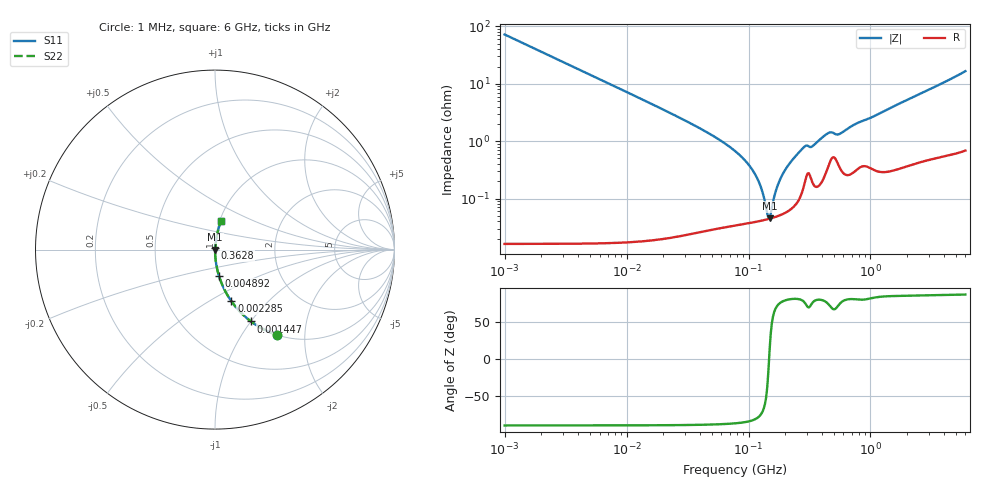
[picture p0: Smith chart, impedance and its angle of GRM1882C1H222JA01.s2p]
!Murata Part Number: GRM1882C1H222JA01
!These Parameters are Measured in Series Mode Connection
!Data Generated on Mar 30, 2021
!  o--ll--o
!Port1  Port2
!  o------o
!Operation Temp=25[degC], DC Bias Voltage=0[V]
!Freq. Start=1000[kHz] Stop=6[GHz] 401[Steps]
# Hz S RI R 50
!Freq.(Hz) S11(Real) S11(Imag) S21(Real) S21(Imag) S12(Real) S12(Imag) S22(Real) S22(Imag)
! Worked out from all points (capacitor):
!   401 points, 1 MHz to 6 GHz, reference 50 ohm
!   read as one part in series: C = 2.2 nF near 1.044 MHz
!   lowest |Z| = 45.4 mohm at 148.7 MHz (marker M1)
!   series resonance near 147.4 MHz, so ESL is about 530 pH
!   S11 on the Smith chart (normalised r, x): 1 MHz: 1.00, -1.45; 1.447 MHz: 1.00, -1.00; 2.285 MHz: 1.00, -0.63; 4.892 MHz: 1.00, -0.30; 362.8 MHz: 1.00, +0.02; 6 GHz: 1.01, +0.33
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1000000  0.3439 -0.4749  0.6561 0.4749  0.6561 0.4749  0.3439 -0.4749
1447343  0.2002 -0.4  0.7998 0.4  0.7998 0.4  0.2002 -0.4
2285201  0.0913 -0.2878  0.9087 0.2878  0.9087 0.2878  0.0913 -0.2878
4293785  0.0277 -0.1638  0.9723 0.1638  0.9723 0.1638  0.0277 -0.1638
4892295  0.0215 -0.1446  0.9785 0.1446  0.9785 0.1446  0.0215 -0.1446
1.843659e7  0.00168 -0.0385  0.9983 0.0385  0.9983 0.0385  0.00168 -0.0385
4.596069e7  0.000475 -0.0141  0.9995 0.0141  0.9995 0.0141  0.000475 -0.0141
7.745967e7  0.000383 -0.00673  0.9996 0.00673  0.9996 0.00673  0.000383 -0.00673
9.627852e7  0.000385 -0.0043  0.9996 0.0043  0.9996 0.0043  0.000385 -0.0043
1.145757e8  0.000398 -0.0025  0.9996 0.0025  0.9996 0.0025  0.000398 -0.0025
1.277378e8  0.000413 -0.00141  0.9996 0.00141  0.9996 0.00141  0.000413 -0.00141
1.424119e8  0.000434 -0.000339  0.9996 0.000339  0.9996 0.000339  0.000434 -0.000339
1.487431e8  0.000445 9.01e-05  0.9996 -9.01e-05  0.9996 -9.01e-05  0.000445 9.01e-05
1.732027e8  0.000495 0.00161  0.9995 -0.00161  0.9995 -0.00161  0.000495 0.00161
2.016844e8  0.000579 0.00321  0.9994 -0.00321  0.9994 -0.00321  0.000579 0.00321
2.794814e8  0.00149 0.00742  0.9985 -0.00742  0.9985 -0.00742  0.00149 0.00742
3.325952e8  0.00201 0.00781  0.998 -0.00781  0.998 -0.00781  0.00201 0.00781
3.628252e8  0.00168 0.00938  0.9983 -0.00938  0.9983 -0.00938  0.00168 0.00938
4.509737e8  0.00381 0.0133  0.9962 -0.0133  0.9962 -0.0133  0.00381 0.0133
5.60538e8  0.00358 0.0129  0.9964 -0.0129  0.9964 -0.0129  0.00358 0.0129
1.428092e9  0.00431 0.0368  0.9957 -0.0368  0.9957 -0.0368  0.00431 0.0368
6e9  0.0331 0.1594  0.9669 -0.1594  0.9669 -0.1594  0.0331 0.1594
